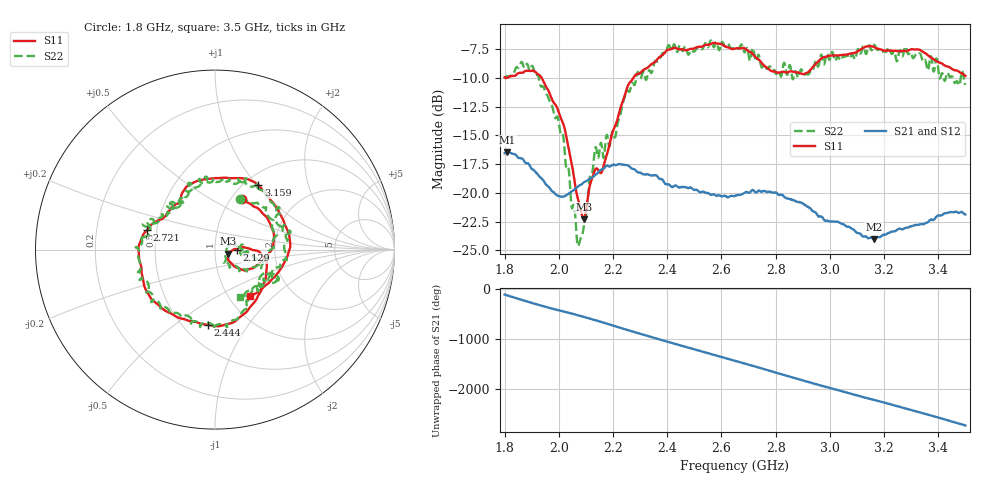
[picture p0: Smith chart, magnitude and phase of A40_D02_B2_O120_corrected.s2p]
! Created with skrf 1.9.0 (http://scikit-rf.org).
# Hz S RI R 50.0
!freq ReS11 ImS11 ReS21 ImS21 ReS12 ImS12 ReS22 ImS22
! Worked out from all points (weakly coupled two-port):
!   1601 points, 1.8 GHz to 3.5 GHz, reference 50 ohm
!   highest |S21| = -16.48 dB at 1.81 GHz (marker M1); lowest = -24.0 dB at 3.162 GHz (marker M2)
!   lowest |S11| = -22.3 dB at 2.092 GHz (marker M3), VSWR 1.17, Z = 57.8 - j2.67 ohm
!   |S11| at or under -10 dB: 1.803538 GHz to 1.809212 GHz (5.675 MHz wide, 0.314 % of centre); 1.937 GHz to 2.275 GHz (338.5 MHz wide, 16.1 % of centre)
!   |S22| runs from -24.6 to -6.7 dB; largest |S21 - S12| = 0.0025
!   S11 on the Smith chart (normalised r, x): 1.8 GHz: 1.12, +0.70; 2.129 GHz: 1.28, -0.00; 2.444 GHz: 0.66, -0.67; 2.721 GHz: 0.44, +0.11; 3.159 GHz: 1.15, +1.02; 3.5 GHz: 1.26, -0.72
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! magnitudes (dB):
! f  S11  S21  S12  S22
! 1.8 GHz  -10.0  -16.6  -16.6  -10.0
! 1.81 GHz  -10.0  -16.5  -16.5  -9.8
! 1.881 GHz  -9.4  -17.4  -17.4  -8.8
! 1.951 GHz  -10.7  -19.2  -19.2  -11.2
! 2.019 GHz  -14.2  -20.3  -20.3  -15.6
! 2.07 GHz  -20.5  -19.5  -19.5  -24.6
! 2.084 GHz  -21.8  -19.3  -19.2  -23.8
! 2.092 GHz  -22.3  -19.1  -19.2  -22.9
! 2.129 GHz  -18.3  -18.6  -18.6  -17.0
! 2.162 GHz  -17.9  -17.9  -17.9  -16.7
! 2.21 GHz  -14.0  -17.6  -17.5  -15.0
! 2.259 GHz  -10.5  -17.7  -17.7  -11.2
! 2.367 GHz  -8.3  -18.7  -18.6  -8.5
! 2.444 GHz  -7.5  -19.5  -19.5  -7.3
! 2.65 GHz  -7.4  -20.3  -20.2  -7.3
! 2.721 GHz  -8.1  -19.9  -19.8  -7.9
! 2.814 GHz  -9.5  -20.2  -20.1  -9.5
! 2.934 GHz  -9.2  -21.5  -21.5  -9.5
! 3.159 GHz  -7.3  -24.0  -23.9  -7.4
! 3.162 GHz  -7.3  -24.0  -24.0  -7.2
! 3.217 GHz  -7.6  -23.5  -23.5  -7.4
! 3.5 GHz  -9.8  -21.9  -21.9  -10.5
